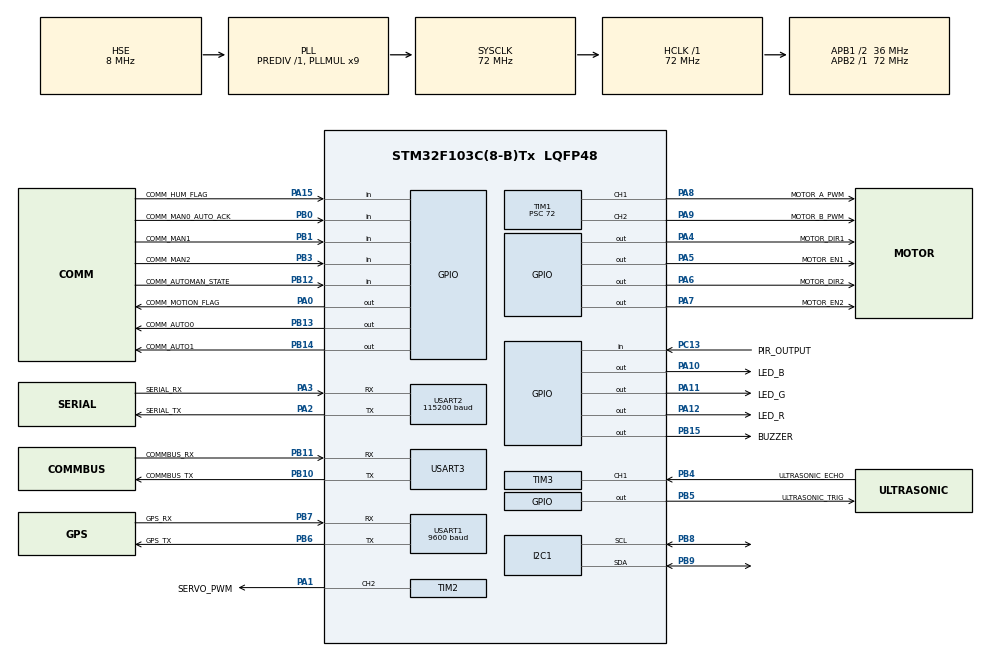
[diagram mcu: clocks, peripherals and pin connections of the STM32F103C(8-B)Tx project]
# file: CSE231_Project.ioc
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Mcu.Family=STM32F1
Mcu.Name=STM32F103C(8-B)Tx
Mcu.Package=LQFP48
NVIC.PriorityGroup=NVIC_PRIORITYGROUP_4
NVIC.TIM2_IRQn=true\:0\:0\:false\:false\:true\:true\:true\:true
NVIC.TIM3_IRQn=true\:0\:0\:false\:false\:true\:true\:true\:true
NVIC.USART1_IRQn=true\:0\:0\:false\:false\:true\:true\:true\:true
NVIC.USART2_IRQn=true\:0\:0\:false\:false\:true\:true\:true\:true
NVIC.USART3_IRQn=true\:0\:0\:false\:false\:true\:true\:true\:true
PA0-WKUP.GPIO_Label=COMM_MOTION_FLAG
PA0-WKUP.Signal=GPIO_Output
PA1.GPIO_Label=SERVO_PWM
PA1.Signal=S_TIM2_CH2
PA10.GPIO_Label=LED_B
PA10.Signal=GPIO_Output
PA11.GPIO_Label=LED_G
PA11.Signal=GPIO_Output
PA12.GPIO_Label=LED_R
PA12.Signal=GPIO_Output
PA13.Mode=Serial_Wire
PA13.Signal=SYS_JTMS-SWDIO
PA14.Mode=Serial_Wire
PA14.Signal=SYS_JTCK-SWCLK
PA15.GPIO_Label=COMM_HUM_FLAG
PA15.Signal=GPIO_Input
PA2.GPIO_Label=SERIAL_TX
PA2.Mode=Asynchronous
PA2.Signal=USART2_TX
PA3.GPIO_Label=SERIAL_RX
PA3.Mode=Asynchronous
PA3.Signal=USART2_RX
PA4.GPIO_Label=MOTOR_DIR1
PA4.Signal=GPIO_Output
PA5.GPIO_Label=MOTOR_EN1
PA5.Signal=GPIO_Output
PA6.GPIO_Label=MOTOR_DIR2
PA6.Signal=GPIO_Output
PA7.GPIO_Label=MOTOR_EN2
PA7.Signal=GPIO_Output
PA8.GPIO_Label=MOTOR_A_PWM
PA8.Signal=S_TIM1_CH1
PA9.GPIO_Label=MOTOR_B_PWM
PA9.Signal=S_TIM1_CH2
PB0.GPIO_Label=COMM_MAN0_AUTO_ACK
PB0.Signal=GPIO_Input
PB1.GPIO_Label=COMM_MAN1
PB1.Signal=GPIO_Input
PB10.GPIO_Label=COMMBUS_TX
PB10.Mode=Asynchronous
PB10.Signal=USART3_TX
PB11.GPIO_Label=COMMBUS_RX
PB11.Mode=Asynchronous
PB11.Signal=USART3_RX
PB12.GPIO_Label=COMM_AUTOMAN_STATE
PB12.Signal=GPIO_Input
PB13.GPIO_Label=COMM_AUTO0
PB13.Signal=GPIO_Output
PB14.GPIO_Label=COMM_AUTO1
PB14.Signal=GPIO_Output
PB15.GPIO_Label=BUZZER
PB15.Signal=GPIO_Output
PB3.GPIO_Label=COMM_MAN2
PB3.Signal=GPIO_Input
PB4.GPIO_Label=ULTRASONIC_ECHO
PB4.Signal=S_TIM3_CH1
PB5.GPIO_Label=ULTRASONIC_TRIG
PB5.Signal=GPIO_Output
PB6.GPIO_Label=GPS_TX
PB6.Mode=Asynchronous
PB6.Signal=USART1_TX
PB7.GPIO_Label=GPS_RX
PB7.Mode=Asynchronous
PB7.Signal=USART1_RX
PB8.Mode=I2C
PB8.Signal=I2C1_SCL
PB9.Mode=I2C
PB9.Signal=I2C1_SDA
PC13-TAMPER-RTC.GPIO_Label=PIR_OUTPUT
PC13-TAMPER-RTC.Signal=GPIO_Input
PD0-OSC_IN.Mode=HSE-External-Oscillator
PD0-OSC_IN.Signal=RCC_OSC_IN
PD1-OSC_OUT.Mode=HSE-External-Oscillator
PD1-OSC_OUT.Signal=RCC_OSC_OUT
ProjectManager.HeapSize=0x200
ProjectManager.StackSize=0x400
ProjectManager.TargetToolchain=STM32CubeIDE
RCC.AHBFreq_Value=72000000
RCC.APB1CLKDivider=RCC_HCLK_DIV2
RCC.APB1Freq_Value=36000000
RCC.APB1TimFreq_Value=72000000
RCC.APB2Freq_Value=72000000
RCC.APB2TimFreq_Value=72000000
RCC.HCLKFreq_Value=72000000
RCC.PLLMUL=RCC_PLL_MUL9
RCC.PLLSourceVirtual=RCC_PLLSOURCE_HSE
RCC.SYSCLKFreq_VALUE=72000000
RCC.SYSCLKSource=RCC_SYSCLKSOURCE_PLLCLK
RCC.USBFreq_Value=72000000
SH.S_TIM1_CH1.0=TIM1_CH1,PWM Generation1 CH1
SH.S_TIM1_CH2.0=TIM1_CH2,PWM Generation2 CH2
SH.S_TIM2_CH2.0=TIM2_CH2,PWM Generation2 CH2
SH.S_TIM3_CH1.0=TIM3_CH1,Input_Capture1_from_TI1
TIM1.Channel-PWM\ Generation1\ CH1=TIM_CHANNEL_1
TIM1.Channel-PWM\ Generation2\ CH2=TIM_CHANNEL_2
TIM1.Period=1000
TIM1.Prescaler=72
TIM2.Channel-PWM\ Generation2\ CH2=TIM_CHANNEL_2
TIM2.Period=2499
TIM2.Prescaler=576
TIM3.Channel-Input_Capture1_from_TI1=TIM_CHANNEL_1
TIM3.Prescaler=71
USART1.BaudRate=9600
USART1.VirtualMode=VM_ASYNC
USART2.BaudRate=115200
USART2.VirtualMode=VM_ASYNC
USART3.VirtualMode=VM_ASYNC
VP_TIM1_VS_ClockSourceINT.Mode=Internal
VP_TIM2_VS_ClockSourceINT.Mode=Internal
VP_TIM3_VS_ClockSourceINT.Mode=Internal
board=custom

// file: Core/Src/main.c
/* USER CODE BEGIN Header */
/**
  ******************************************************************************
  * @file           : main.c
  * @brief          : Main program body
  ******************************************************************************
  * @attention
  *
  * Copyright (c) 2025 STMicroelectronics.
  * All rights reserved.
  *
  * This software is licensed under terms that can be found in the LICENSE file
  * in the root directory of this software component.
  * If no LICENSE file comes with this software, it is provided AS-IS.
  *
  ******************************************************************************
  */
/* USER CODE END Header */
#include "main.h"

/* USER CODE BEGIN Includes */

#include <stdio.h>
#include <stdlib.h>
#include <string.h>
#include "std_types.h"
//#include "bit_math.h"

#include "SystemFlow_STM32.h"
/* USER CODE END Includes */

I2C_HandleTypeDef hi2c1;

TIM_HandleTypeDef htim1;
TIM_HandleTypeDef htim2;
TIM_HandleTypeDef htim3;

UART_HandleTypeDef huart1;
UART_HandleTypeDef huart2;
UART_HandleTypeDef huart3;

void SystemClock_Config(void);
static void MX_GPIO_Init(void);
static void MX_TIM2_Init(void);
static void MX_USART1_UART_Init(void);
static void MX_USART2_UART_Init(void);
static void MX_TIM1_Init(void);
static void MX_TIM3_Init(void);
static void MX_USART3_UART_Init(void);
static void MX_I2C1_Init(void);

/* USER CODE BEGIN 0 */

extern char GPS_outputBuffer[150];

/* USER CODE END 0 */

int main(void)
{

  /* MCU Configuration--------------------------------------------------------*/

  /* Reset of all peripherals, Initializes the Flash interface and the Systick. */
  HAL_Init();

  /* Configure the system clock */
  SystemClock_Config();

  /* Initialize all configured peripherals */
  MX_GPIO_Init();
  MX_TIM2_Init();
  MX_USART1_UART_Init();
  MX_USART2_UART_Init();
  MX_TIM1_Init();
  MX_TIM3_Init();
  MX_USART3_UART_Init();
  MX_I2C1_Init();
  /* USER CODE BEGIN 2 */
  SystemFlow_Init();

  /* Infinite loop */
  /* USER CODE BEGIN WHILE */
  while (1)
  {
	  SystemFlow_Run();

    /* USER CODE END WHILE */

  }
}

void SystemClock_Config(void)
{
  RCC_OscInitTypeDef RCC_OscInitStruct = {0};
  RCC_ClkInitTypeDef RCC_ClkInitStruct = {0};

  /** Initializes the RCC Oscillators according to the specified parameters
  * in the RCC_OscInitTypeDef structure.
  */
  RCC_OscInitStruct.OscillatorType = RCC_OSCILLATORTYPE_HSE;
  RCC_OscInitStruct.HSEState = RCC_HSE_ON;
  RCC_OscInitStruct.HSEPredivValue = RCC_HSE_PREDIV_DIV1;
  RCC_OscInitStruct.HSIState = RCC_HSI_ON;
  RCC_OscInitStruct.PLL.PLLState = RCC_PLL_ON;
  RCC_OscInitStruct.PLL.PLLSource = RCC_PLLSOURCE_HSE;
  RCC_OscInitStruct.PLL.PLLMUL = RCC_PLL_MUL9;
  if (HAL_RCC_OscConfig(&RCC_OscInitStruct) != HAL_OK)
  {
    Error_Handler();
  }

  /** Initializes the CPU, AHB and APB buses clocks
  */
  RCC_ClkInitStruct.ClockType = RCC_CLOCKTYPE_HCLK|RCC_CLOCKTYPE_SYSCLK
                              |RCC_CLOCKTYPE_PCLK1|RCC_CLOCKTYPE_PCLK2;
  RCC_ClkInitStruct.SYSCLKSource = RCC_SYSCLKSOURCE_PLLCLK;
  RCC_ClkInitStruct.AHBCLKDivider = RCC_SYSCLK_DIV1;
  RCC_ClkInitStruct.APB1CLKDivider = RCC_HCLK_DIV2;
  RCC_ClkInitStruct.APB2CLKDivider = RCC_HCLK_DIV1;

  if (HAL_RCC_ClockConfig(&RCC_ClkInitStruct, FLASH_LATENCY_2) != HAL_OK)
  {
    Error_Handler();
  }
}

static void MX_I2C1_Init(void)
{

  hi2c1.Instance = I2C1;
  hi2c1.Init.ClockSpeed = 100000;
  hi2c1.Init.DutyCycle = I2C_DUTYCYCLE_2;
  hi2c1.Init.OwnAddress1 = 0;
  hi2c1.Init.AddressingMode = I2C_ADDRESSINGMODE_7BIT;
  hi2c1.Init.DualAddressMode = I2C_DUALADDRESS_DISABLE;
  hi2c1.Init.OwnAddress2 = 0;
  hi2c1.Init.GeneralCallMode = I2C_GENERALCALL_DISABLE;
  hi2c1.Init.NoStretchMode = I2C_NOSTRETCH_DISABLE;
  if (HAL_I2C_Init(&hi2c1) != HAL_OK)
  {
    Error_Handler();
  }

}

static void MX_TIM1_Init(void)
{

  TIM_ClockConfigTypeDef sClockSourceConfig = {0};
  TIM_MasterConfigTypeDef sMasterConfig = {0};
  TIM_OC_InitTypeDef sConfigOC = {0};
  TIM_BreakDeadTimeConfigTypeDef sBreakDeadTimeConfig = {0};

  htim1.Instance = TIM1;
  htim1.Init.Prescaler = 72;
  htim1.Init.CounterMode = TIM_COUNTERMODE_UP;
  htim1.Init.Period = 1000;
  htim1.Init.ClockDivision = TIM_CLOCKDIVISION_DIV1;
  htim1.Init.RepetitionCounter = 0;
  htim1.Init.AutoReloadPreload = TIM_AUTORELOAD_PRELOAD_DISABLE;
  if (HAL_TIM_Base_Init(&htim1) != HAL_OK)
  {
    Error_Handler();
  }
  sClockSourceConfig.ClockSource = TIM_CLOCKSOURCE_INTERNAL;
  if (HAL_TIM_ConfigClockSource(&htim1, &sClockSourceConfig) != HAL_OK)
  {
    Error_Handler();
  }
  if (HAL_TIM_PWM_Init(&htim1) != HAL_OK)
  {
    Error_Handler();
  }
  sMasterConfig.MasterOutputTrigger = TIM_TRGO_RESET;
  sMasterConfig.MasterSlaveMode = TIM_MASTERSLAVEMODE_DISABLE;
  if (HAL_TIMEx_MasterConfigSynchronization(&htim1, &sMasterConfig) != HAL_OK)
  {
    Error_Handler();
  }
  sConfigOC.OCMode = TIM_OCMODE_PWM1;
  sConfigOC.Pulse = 0;
  sConfigOC.OCPolarity = TIM_OCPOLARITY_HIGH;
  sConfigOC.OCNPolarity = TIM_OCNPOLARITY_HIGH;
  sConfigOC.OCFastMode = TIM_OCFAST_DISABLE;
  sConfigOC.OCIdleState = TIM_OCIDLESTATE_RESET;
  sConfigOC.OCNIdleState = TIM_OCNIDLESTATE_RESET;
  if (HAL_TIM_PWM_ConfigChannel(&htim1, &sConfigOC, TIM_CHANNEL_1) != HAL_OK)
  {
    Error_Handler();
  }
  if (HAL_TIM_PWM_ConfigChannel(&htim1, &sConfigOC, TIM_CHANNEL_2) != HAL_OK)
  {
    Error_Handler();
  }
  sBreakDeadTimeConfig.OffStateRunMode = TIM_OSSR_DISABLE;
  sBreakDeadTimeConfig.OffStateIDLEMode = TIM_OSSI_DISABLE;
  sBreakDeadTimeConfig.LockLevel = TIM_LOCKLEVEL_OFF;
  sBreakDeadTimeConfig.DeadTime = 0;
  sBreakDeadTimeConfig.BreakState = TIM_BREAK_DISABLE;
  sBreakDeadTimeConfig.BreakPolarity = TIM_BREAKPOLARITY_HIGH;
  sBreakDeadTimeConfig.AutomaticOutput = TIM_AUTOMATICOUTPUT_DISABLE;
  if (HAL_TIMEx_ConfigBreakDeadTime(&htim1, &sBreakDeadTimeConfig) != HAL_OK)
  {
    Error_Handler();
  }
  HAL_TIM_MspPostInit(&htim1);

}

static void MX_TIM2_Init(void)
{

  TIM_ClockConfigTypeDef sClockSourceConfig = {0};
  TIM_MasterConfigTypeDef sMasterConfig = {0};
  TIM_OC_InitTypeDef sConfigOC = {0};

  htim2.Instance = TIM2;
  htim2.Init.Prescaler = 576;
  htim2.Init.CounterMode = TIM_COUNTERMODE_UP;
  htim2.Init.Period = 2499;
  htim2.Init.ClockDivision = TIM_CLOCKDIVISION_DIV1;
  htim2.Init.AutoReloadPreload = TIM_AUTORELOAD_PRELOAD_DISABLE;
  if (HAL_TIM_Base_Init(&htim2) != HAL_OK)
  {
    Error_Handler();
  }
  sClockSourceConfig.ClockSource = TIM_CLOCKSOURCE_INTERNAL;
  if (HAL_TIM_ConfigClockSource(&htim2, &sClockSourceConfig) != HAL_OK)
  {
    Error_Handler();
  }
  if (HAL_TIM_PWM_Init(&htim2) != HAL_OK)
  {
    Error_Handler();
  }
  sMasterConfig.MasterOutputTrigger = TIM_TRGO_RESET;
  sMasterConfig.MasterSlaveMode = TIM_MASTERSLAVEMODE_DISABLE;
  if (HAL_TIMEx_MasterConfigSynchronization(&htim2, &sMasterConfig) != HAL_OK)
  {
    Error_Handler();
  }
  sConfigOC.OCMode = TIM_OCMODE_PWM1;
  sConfigOC.Pulse = 0;
  sConfigOC.OCPolarity = TIM_OCPOLARITY_HIGH;
  sConfigOC.OCFastMode = TIM_OCFAST_DISABLE;
  if (HAL_TIM_PWM_ConfigChannel(&htim2, &sConfigOC, TIM_CHANNEL_2) != HAL_OK)
  {
    Error_Handler();
  }
  HAL_TIM_MspPostInit(&htim2);

}

static void MX_TIM3_Init(void)
{

  TIM_ClockConfigTypeDef sClockSourceConfig = {0};
  TIM_MasterConfigTypeDef sMasterConfig = {0};
  TIM_IC_InitTypeDef sConfigIC = {0};

  htim3.Instance = TIM3;
  htim3.Init.Prescaler = 71;
  htim3.Init.CounterMode = TIM_COUNTERMODE_UP;
  htim3.Init.Period = 65535;
  htim3.Init.ClockDivision = TIM_CLOCKDIVISION_DIV1;
  htim3.Init.AutoReloadPreload = TIM_AUTORELOAD_PRELOAD_DISABLE;
  if (HAL_TIM_Base_Init(&htim3) != HAL_OK)
  {
    Error_Handler();
  }
  sClockSourceConfig.ClockSource = TIM_CLOCKSOURCE_INTERNAL;
  if (HAL_TIM_ConfigClockSource(&htim3, &sClockSourceConfig) != HAL_OK)
  {
    Error_Handler();
  }
  if (HAL_TIM_IC_Init(&htim3) != HAL_OK)
  {
    Error_Handler();
  }
  sMasterConfig.MasterOutputTrigger = TIM_TRGO_RESET;
  sMasterConfig.MasterSlaveMode = TIM_MASTERSLAVEMODE_DISABLE;
  if (HAL_TIMEx_MasterConfigSynchronization(&htim3, &sMasterConfig) != HAL_OK)
  {
    Error_Handler();
  }
  sConfigIC.ICPolarity = TIM_INPUTCHANNELPOLARITY_RISING;
  sConfigIC.ICSelection = TIM_ICSELECTION_DIRECTTI;
  sConfigIC.ICPrescaler = TIM_ICPSC_DIV1;
  sConfigIC.ICFilter = 0;
  if (HAL_TIM_IC_ConfigChannel(&htim3, &sConfigIC, TIM_CHANNEL_1) != HAL_OK)
  {
    Error_Handler();
  }

}

static void MX_USART1_UART_Init(void)
{

  huart1.Instance = USART1;
  huart1.Init.BaudRate = 9600;
  huart1.Init.WordLength = UART_WORDLENGTH_8B;
  huart1.Init.StopBits = UART_STOPBITS_1;
  huart1.Init.Parity = UART_PARITY_NONE;
  huart1.Init.Mode = UART_MODE_TX_RX;
  huart1.Init.HwFlowCtl = UART_HWCONTROL_NONE;
  huart1.Init.OverSampling = UART_OVERSAMPLING_16;
  if (HAL_UART_Init(&huart1) != HAL_OK)
  {
    Error_Handler();
  }

}

static void MX_USART2_UART_Init(void)
{

  huart2.Instance = USART2;
  huart2.Init.BaudRate = 115200;
  huart2.Init.WordLength = UART_WORDLENGTH_8B;
  huart2.Init.StopBits = UART_STOPBITS_1;
  huart2.Init.Parity = UART_PARITY_NONE;
  huart2.Init.Mode = UART_MODE_TX_RX;
  huart2.Init.HwFlowCtl = UART_HWCONTROL_NONE;
  huart2.Init.OverSampling = UART_OVERSAMPLING_16;
  if (HAL_UART_Init(&huart2) != HAL_OK)
  {
    Error_Handler();
  }

}

static void MX_USART3_UART_Init(void)
{

  huart3.Instance = USART3;
  huart3.Init.BaudRate = 115200;
  huart3.Init.WordLength = UART_WORDLENGTH_8B;
  huart3.Init.StopBits = UART_STOPBITS_1;
  huart3.Init.Parity = UART_PARITY_NONE;
  huart3.Init.Mode = UART_MODE_TX_RX;
  huart3.Init.HwFlowCtl = UART_HWCONTROL_NONE;
  huart3.Init.OverSampling = UART_OVERSAMPLING_16;
  if (HAL_UART_Init(&huart3) != HAL_OK)
  {
    Error_Handler();
  }

}

static void MX_GPIO_Init(void)
{
  GPIO_InitTypeDef GPIO_InitStruct = {0};

  /* GPIO Ports Clock Enable */
  __HAL_RCC_GPIOC_CLK_ENABLE();
  __HAL_RCC_GPIOD_CLK_ENABLE();
  __HAL_RCC_GPIOA_CLK_ENABLE();
  __HAL_RCC_GPIOB_CLK_ENABLE();

  /*Configure GPIO pin Output Level */
  HAL_GPIO_WritePin(GPIOA, COMM_MOTION_FLAG_Pin|MOTOR_DIR1_Pin|MOTOR_EN1_Pin|MOTOR_DIR2_Pin
                          |MOTOR_EN2_Pin|LED_B_Pin|LED_G_Pin|LED_R_Pin, GPIO_PIN_RESET);

  /*Configure GPIO pin Output Level */
  HAL_GPIO_WritePin(GPIOB, COMM_AUTO0_Pin|COMM_AUTO1_Pin|BUZZER_Pin|ULTRASONIC_TRIG_Pin, GPIO_PIN_RESET);

  /*Configure GPIO pin : PIR_OUTPUT_Pin */
  GPIO_InitStruct.Pin = PIR_OUTPUT_Pin;
  GPIO_InitStruct.Mode = GPIO_MODE_INPUT;
  GPIO_InitStruct.Pull = GPIO_NOPULL;
  HAL_GPIO_Init(PIR_OUTPUT_GPIO_Port, &GPIO_InitStruct);

  /*Configure GPIO pins : COMM_MOTION_FLAG_Pin MOTOR_DIR1_Pin MOTOR_EN1_Pin MOTOR_DIR2_Pin
                           MOTOR_EN2_Pin LED_B_Pin LED_G_Pin LED_R_Pin */
  GPIO_InitStruct.Pin = COMM_MOTION_FLAG_Pin|MOTOR_DIR1_Pin|MOTOR_EN1_Pin|MOTOR_DIR2_Pin
                          |MOTOR_EN2_Pin|LED_B_Pin|LED_G_Pin|LED_R_Pin;
  GPIO_InitStruct.Mode = GPIO_MODE_OUTPUT_PP;
  GPIO_InitStruct.Pull = GPIO_NOPULL;
  GPIO_InitStruct.Speed = GPIO_SPEED_FREQ_LOW;
  HAL_GPIO_Init(GPIOA, &GPIO_InitStruct);

  /*Configure GPIO pins : COMM_MAN0_AUTO_ACK_Pin COMM_MAN1_Pin COMM_AUTOMAN_STATE_Pin COMM_MAN2_Pin */
  GPIO_InitStruct.Pin = COMM_MAN0_AUTO_ACK_Pin|COMM_MAN1_Pin|COMM_AUTOMAN_STATE_Pin|COMM_MAN2_Pin;
  GPIO_InitStruct.Mode = GPIO_MODE_INPUT;
  GPIO_InitStruct.Pull = GPIO_NOPULL;
  HAL_GPIO_Init(GPIOB, &GPIO_InitStruct);

  /*Configure GPIO pins : COMM_AUTO0_Pin COMM_AUTO1_Pin BUZZER_Pin ULTRASONIC_TRIG_Pin */
  GPIO_InitStruct.Pin = COMM_AUTO0_Pin|COMM_AUTO1_Pin|BUZZER_Pin|ULTRASONIC_TRIG_Pin;
  GPIO_InitStruct.Mode = GPIO_MODE_OUTPUT_PP;
  GPIO_InitStruct.Pull = GPIO_NOPULL;
  GPIO_InitStruct.Speed = GPIO_SPEED_FREQ_LOW;
  HAL_GPIO_Init(GPIOB, &GPIO_InitStruct);

  /*Configure GPIO pin : COMM_HUM_FLAG_Pin */
  GPIO_InitStruct.Pin = COMM_HUM_FLAG_Pin;
  GPIO_InitStruct.Mode = GPIO_MODE_INPUT;
  GPIO_InitStruct.Pull = GPIO_NOPULL;
  HAL_GPIO_Init(COMM_HUM_FLAG_GPIO_Port, &GPIO_InitStruct);

}

/* USER CODE BEGIN 4 */

void HAL_TIM_IC_CaptureCallback(TIM_HandleTypeDef *htim)
{
	if (htim->Instance == TIM3 && htim->Channel == HAL_TIM_ACTIVE_CHANNEL_1)
	{
		HAL_GPIO_TogglePin(GPIOC, GPIO_PIN_13);

		if (Is_First_Captured==0) // if the first value is not captured
		{
			IC_Val1 = HAL_TIM_ReadCapturedValue(htim, TIM_CHANNEL_1); // read the first value
			Is_First_Captured = 1;  // set the first captured as true
			// Now change the polarity to falling edge
			__HAL_TIM_SET_CAPTUREPOLARITY(htim, TIM_CHANNEL_1, TIM_INPUTCHANNELPOLARITY_FALLING);
		}

		else if (Is_First_Captured==1)   // if the first is already captured
		{
			IC_Val2 = HAL_TIM_ReadCapturedValue(htim, TIM_CHANNEL_1);  // read second value
			__HAL_TIM_SET_COUNTER(htim, 0);  // reset the counter

			if (IC_Val2 > IC_Val1)
			{
				Difference = IC_Val2-IC_Val1;
			}

			else if (IC_Val1 > IC_Val2)
			{
				Difference = (0xffff - IC_Val1) + IC_Val2;
			}

			ULT_Distance = Difference * .034/2;
			Is_First_Captured = 0; // set it back to false

			// set polarity to rising edge
			__HAL_TIM_SET_CAPTUREPOLARITY(htim, TIM_CHANNEL_1, TIM_INPUTCHANNELPOLARITY_RISING);
			__HAL_TIM_DISABLE_IT(htim, TIM_IT_CC1);
		}
	}
}

void HAL_UART_RxCpltCallback(UART_HandleTypeDef *huart)
{
//    if (huart->Instance == USART3) {
//        CommBus_RxHandler();
//    }
}

/* USER CODE END 4 */

void Error_Handler(void)
{
  __disable_irq();
  while (1)
  {
  }
}
